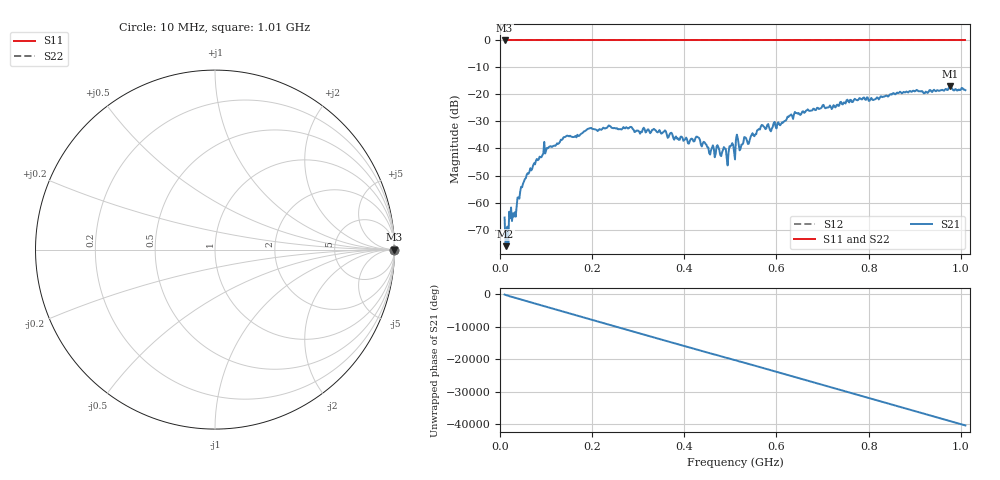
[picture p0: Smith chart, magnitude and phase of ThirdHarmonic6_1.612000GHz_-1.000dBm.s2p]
! 8/16/2025 7:14:28 PM
! C:\ANRITSUVNA\TEMP\TEMP.S2P
! CHANNEL.1
! TR.MEASUREMENT
! RAW.DATA
! RF.CORRECTION.OFF
! AVERAGING.OFF
! IF.BANDWIDTH: 5KHZ
! SWEEPTYPE:  FREQ.SWEEP(Linear)
! Reference Plane Port Info
! PORT:  PORT1  PORT2
! DISTANCE:  0  m  0  m
! TIME:  0  s  0  s
! PHASE.OFFSET:  0  deg.  0  deg.
! LOSS:  0  dB  0  dB
! REF.LOSS:  0  dB  0  dB
! REF.FREQ:  0  Hz  0  Hz
! Power Info
! POWER:  -20  dBm  -20  dBm
! EFF.POWER:  -20  dBm  -20  dBm
! SOURCE.ATTEN:  0  dB  0  dB
! TEST.ATTEN:  0  dB  0  dB
# GHZ S RI R 50.0
! FREQ.GHZ  S11RE  S11IM  S21RE  S21IM  S12RE  S12IM  S22RE  S22IM
!; PortSelection: Port_12
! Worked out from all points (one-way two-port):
!   501 points, 10 MHz to 1.01 GHz, reference 50 ohm
!   highest |S21| = -16.90 dB at 976 MHz (marker M1); lowest = -76.2 dB at 12 MHz (marker M2)
!   lowest |S11| = 0.0 dB at 10 MHz (marker M3)
!   |S11| at or under -10 dB: nowhere
!   |S22| runs from 0.0 to 0.0 dB; largest |S21 - S12| = 1.1
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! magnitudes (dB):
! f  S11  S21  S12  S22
! 10 MHz  0.0  -65.6  0.0  0.0
! 12 MHz  0.0  -76.2  0.0  0.0
! 16 MHz  0.0  -68.9  0.0  0.0
! 24 MHz  0.0  -61.8  0.0  0.0
! 30 MHz  0.0  -65.2  0.0  0.0
! 56 MHz  0.0  -51.0  0.0  0.0
! 98 MHz  0.0  -41.9  0.0  0.0
! 178 MHz  0.0  -34.3  0.0  0.0
! 238 MHz  0.0  -31.6  0.0  0.0
! 344 MHz  0.0  -33.8  0.0  0.0
! 410 MHz  0.0  -38.2  0.0  0.0
! 428 MHz  0.0  -35.7  0.0  0.0
! 454 MHz  0.0  -41.7  0.0  0.0
! 492 MHz  0.0  -43.5  0.0  0.0
! 510 MHz  0.0  -44.0  0.0  0.0
! 540 MHz  0.0  -38.2  0.0  0.0
! 570 MHz  0.0  -31.4  0.0  0.0
! 588 MHz  0.0  -33.6  0.0  0.0
! 678 MHz  0.0  -25.9  0.0  0.0
! 844 MHz  0.0  -20.5  0.0  0.0
! 976 MHz  0.0  -16.9  0.0  0.0
! 1.01 GHz  0.0  -18.4  0.0  0.0
